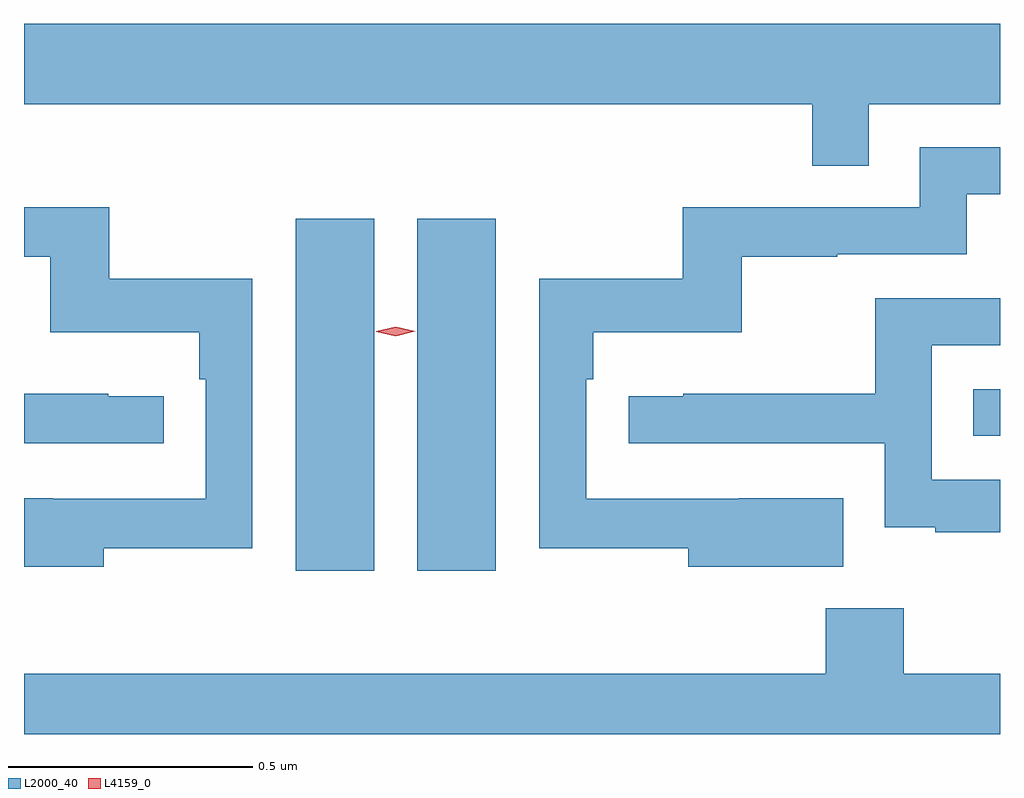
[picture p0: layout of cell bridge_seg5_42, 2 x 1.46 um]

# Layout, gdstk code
import gdstk
lib = gdstk.Library(unit=1e-6, precision=1e-09)
def R(c, l, rs):  # rectangles x0, y0, x1, y1
    for r in rs: c.add(gdstk.rectangle(r[:2], r[2:], *l))
def P(c, l, *ps):  # polygons
    for p in ps: c.add(gdstk.Polygon(p, *l))
L2000_40 = (2000, 40)
L4159_0 = (4159, 0)

bridge_seg5_42 = lib.new_cell('bridge_seg5_42')
R(bridge_seg5_42, L2000_40, [(881.723,886.44,881.884,887.161), (881.972,886.44,882.133,887.161), (883.111,886.716,883.166,886.812)])
P(bridge_seg5_42, L2000_40, [(882.897,887.396),(883.166,887.396),(883.166,887.56),(881.166,887.56),(881.166,887.396),(882.781,887.396),(882.781,887.269),(882.897,887.269)],
  [(882.845,886.588),(882.631,886.588),(882.631,886.587),(882.318,886.587),(882.318,886.832),(882.332,886.832),(882.332,886.928),(882.637,886.928),(882.637,887.083),(882.833,887.083),(882.833,887.088),(883.098,887.088),(883.098,887.211),(883.166,887.211),(883.166,887.307),(883.002,887.307),(883.002,887.184),(882.516,887.184),(882.516,887.038),(882.222,887.038),(882.222,886.486),(882.527,886.486),(882.527,886.448),(882.845,886.448)],
  [(881.329,886.486),(881.634,886.486),(881.634,887.038),(881.341,887.038),(881.341,887.184),(881.166,887.184),(881.166,887.083),(881.22,887.083),(881.22,886.928),(881.525,886.928),(881.525,886.832),(881.538,886.832),(881.538,886.587),(881.225,886.587),(881.225,886.588),(881.166,886.588),(881.166,886.448),(881.329,886.448)],
  [(883.166,886.626),(883.026,886.626),(883.026,886.902),(883.166,886.902),(883.166,886.998),(882.91,886.998),(882.91,886.802),(882.517,886.802),(882.517,886.797),(882.405,886.797),(882.405,886.701),(882.93,886.701),(882.93,886.529),(883.033,886.529),(883.033,886.518),(883.166,886.518)],
  [(881.452,886.797),(881.339,886.797),(881.339,886.802),(881.166,886.802),(881.166,886.701),(881.452,886.701)],
  [(883.166,886.228),(882.969,886.228),(882.969,886.363),(882.809,886.363),(882.809,886.228),(881.166,886.228),(881.166,886.105),(883.166,886.105)])
P(bridge_seg5_42, L4159_0, [(881.928,886.92),(881.888,886.929),(881.888,886.93),(881.888,886.93),(881.928,886.94),(881.968,886.93),(881.968,886.93),(881.968,886.93)])

lib.write_gds('bridge_seg5_42.gds')
